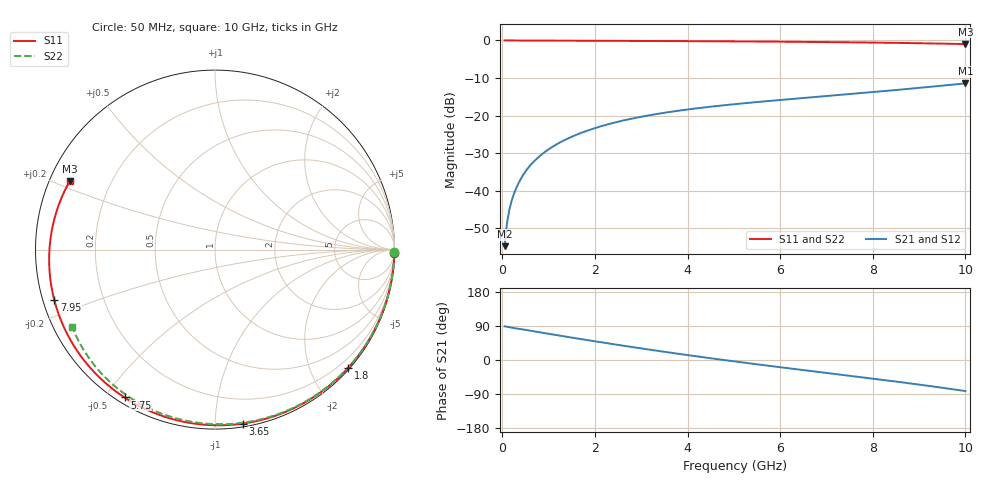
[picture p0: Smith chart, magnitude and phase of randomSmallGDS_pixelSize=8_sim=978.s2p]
! freq	dB(S11)	phase(S11)	dB(S12)	phase(S12)
!  dB(S21)	phase(S21)	dB(S22)	phase(S22)
!S-par simulation data
#  GHz  S  DB  R 50
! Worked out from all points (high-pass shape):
!   200 points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, 50 MHz to 10 GHz, reference 50 ohm
!   highest |S21| = -11.44 dB at 10 GHz (marker M1); lowest = -54.8 dB at 50 MHz (marker M2)
!   |S21| within 3 dB of the highest: 7.366 GHz to end of sweep
!   lowest |S11| = -1.0 dB at 10 GHz (marker M3), VSWR 17.99, Z = 2.92 + j11.2 ohm
!   |S11| at or under -10 dB: nowhere
!   |S22| runs from -0.9 to 0.0 dB; largest |S21 - S12| = 0
!   S11 on the Smith chart (normalised r, x): 50 MHz: 0, -96; 1.8 GHz: 0.03, -2.64; 3.65 GHz: 0.02, -1.17; 5.75 GHz: 0.02, -0.56; 7.95 GHz: 0.03, -0.15; 10 GHz: 0.06, +0.22
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0.05  -0.00 -1.2  -54.79 88.8  -54.79 88.8  -0.00 -0.9
0.1  -0.00 -2.4  -48.78 87.7  -48.78 87.7  -0.00 -1.8
0.15  -0.00 -3.5  -45.27 86.5  -45.27 86.5  -0.00 -2.7
0.2  -0.01 -4.7  -42.79 85.4  -42.79 85.4  -0.01 -3.6
0.3  -0.01 -7.1  -39.34 83.3  -39.34 83.3  -0.01 -5.4
0.5  -0.02 -11.7  -34.91 79.6  -34.91 79.6  -0.01 -8.9
0.7  -0.02 -16.4  -32.01 75.3  -32.01 75.3  -0.02 -12.5
1  -0.03 -23.3  -29.00 69.1  -29.00 69.1  -0.03 -17.8
1.75  -0.07 -40.4  -24.40 54.2  -24.40 54.2  -0.05 -30.8
1.8  -0.07 -41.5  -24.18 53.2  -24.18 53.2  -0.06 -31.7
2.6  -0.11 -59.0  -21.35 37.9  -21.35 37.9  -0.09 -45.2
3.4  -0.15 -75.8  -19.46 23.4  -19.46 23.4  -0.13 -58.3
3.65  -0.16 -80.9  -18.98 19.0  -18.98 19.0  -0.14 -62.3
4.35  -0.20 -94.8  -17.85 7.1  -17.85 7.1  -0.17 -73.2
5.05  -0.25 -108.3  -16.93 -4.3  -16.93 -4.3  -0.21 -83.8
5.75  -0.30 -121.5  -16.13 -15.2  -16.13 -15.2  -0.26 -94.0
6.7  -0.39 -139.1  -15.13 -29.6  -15.13 -29.6  -0.34 -107.3
7.35  -0.47 -151.2  -14.46 -39.3  -14.46 -39.3  -0.41 -116.3
7.95  -0.55 -162.5  -13.82 -48.3  -13.82 -48.3  -0.48 -124.3
8.35  -0.62 -170.3  -13.38 -54.5  -13.38 -54.5  -0.54 -129.7
9.2  -0.78 172.4  -12.40 -68.2  -12.40 -68.2  -0.69 -141.0
10  -0.97 154.7  -11.44 -82.0  -11.44 -82.0  -0.88 -151.7
